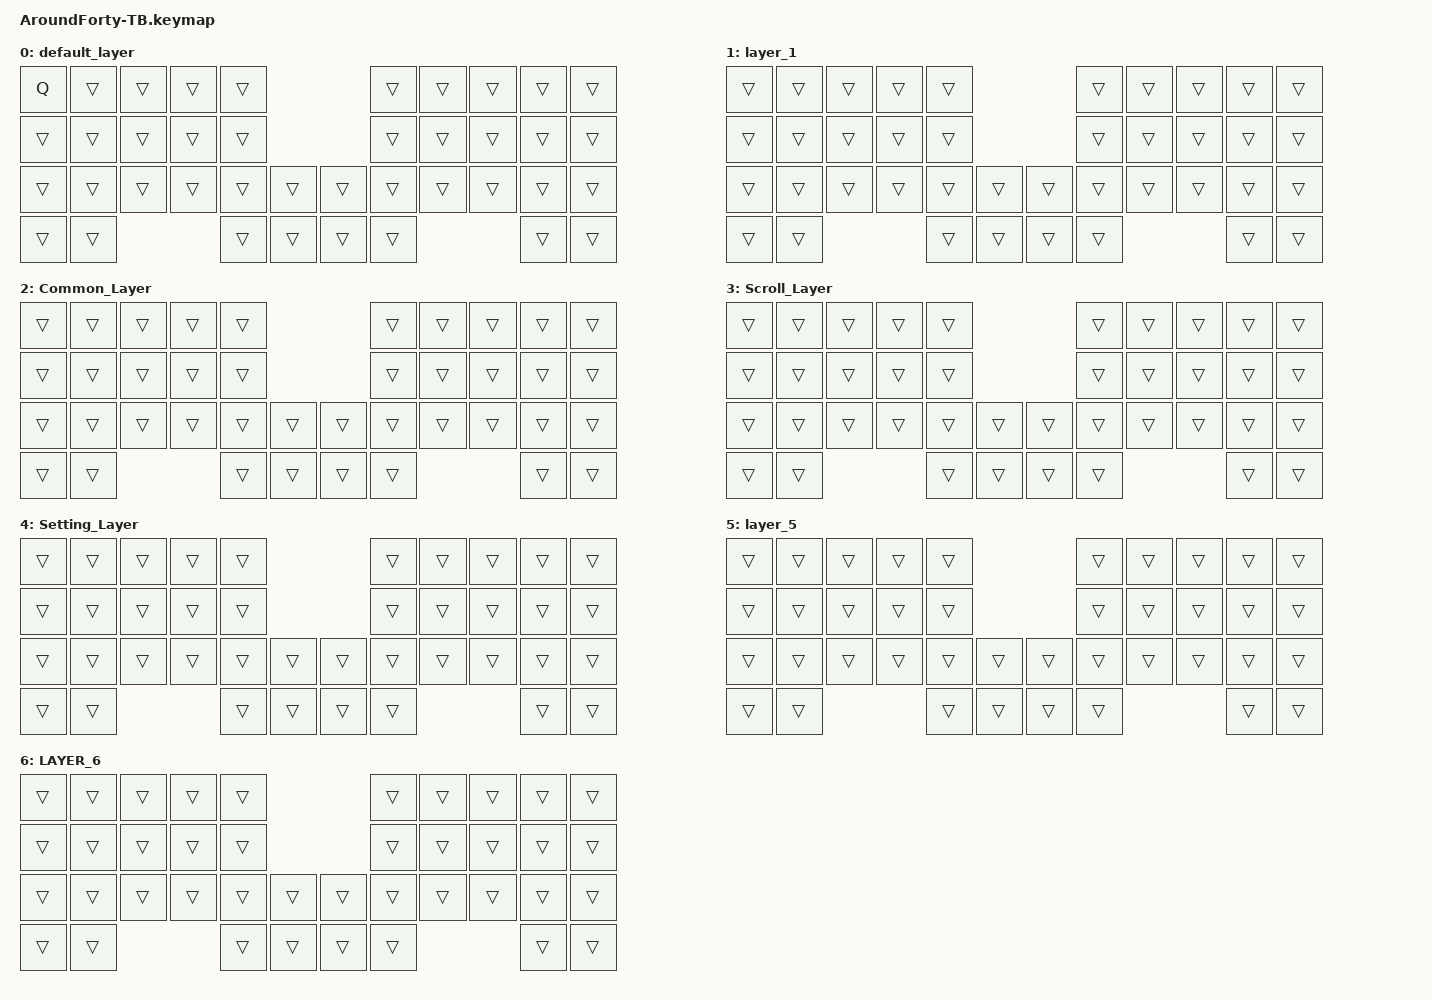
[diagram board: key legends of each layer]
#include <behaviors.dtsi>
#include <dt-bindings/zmk/bt.h>
#include <dt-bindings/zmk/keys.h>
#include <dt-bindings/zmk/pointing.h>


#define MOUSE 6

&mt {
    flavor = "balanced";
    quick-tap-ms = <0>;
};

/ {
    combos { compatible = "zmk,combos"; };

    macros {
        to_layer_0: to_layer_0 {
            compatible = "zmk,behavior-macro-one-param";
            #binding-cells = <1>;
            bindings = <&to 0 &macro_param_1to1 &kp MACRO_PLACEHOLDER>;
            label = "TO_LAYER_0";
        };
    };

    behaviors {
        lt_to_layer_0: lt_to_layer_0 {
            compatible = "zmk,behavior-hold-tap";
            label = "LAYER_TAP_TO_0";
            bindings = <&mo>, <&to_layer_0>;

            #binding-cells = <2>;
            tapping-term-ms = <200>;
        };

        scroll_up_down: behavior_sensor_rotate_mouse_wheel_up_down {
            compatible = "zmk,behavior-sensor-rotate";
            #sensor-binding-cells = <0>;
            bindings = <&msc SCRL_UP>, <&msc SCRL_DOWN>;

            tap-ms = <20>;
        };
    };

    keymap {
        compatible = "zmk,keymap";

        default_layer {
            bindings = <
&kp Q   &trans  &trans  &trans  &trans                  &trans  &trans  &trans  &trans  &trans
&trans  &trans  &trans  &trans  &trans                  &trans  &trans  &trans  &trans  &trans
&trans  &trans  &trans  &trans  &trans  &trans  &trans  &trans  &trans  &trans  &trans  &trans
&trans  &trans                  &trans  &trans  &trans  &trans                  &trans  &trans
            >;
        };

        layer_1 {
            bindings = <
&trans  &trans  &trans  &trans  &trans                  &trans  &trans  &trans  &trans  &trans
&trans  &trans  &trans  &trans  &trans                  &trans  &trans  &trans  &trans  &trans
&trans  &trans  &trans  &trans  &trans  &trans  &trans  &trans  &trans  &trans  &trans  &trans
&trans  &trans                  &trans  &trans  &trans  &trans                  &trans  &trans
            >;
        };

        Common_Layer {
            bindings = <
&trans  &trans  &trans  &trans  &trans                  &trans  &trans  &trans  &trans  &trans
&trans  &trans  &trans  &trans  &trans                  &trans  &trans  &trans  &trans  &trans
&trans  &trans  &trans  &trans  &trans  &trans  &trans  &trans  &trans  &trans  &trans  &trans
&trans  &trans                  &trans  &trans  &trans  &trans                  &trans  &trans
            >;
        };

        Scroll_Layer {
            bindings = <
&trans  &trans  &trans  &trans  &trans                  &trans  &trans  &trans  &trans  &trans
&trans  &trans  &trans  &trans  &trans                  &trans  &trans  &trans  &trans  &trans
&trans  &trans  &trans  &trans  &trans  &trans  &trans  &trans  &trans  &trans  &trans  &trans
&trans  &trans                  &trans  &trans  &trans  &trans                  &trans  &trans
            >;
        };

        Setting_Layer {
            bindings = <
&trans  &trans  &trans  &trans  &trans                  &trans  &trans  &trans  &trans  &trans
&trans  &trans  &trans  &trans  &trans                  &trans  &trans  &trans  &trans  &trans
&trans  &trans  &trans  &trans  &trans  &trans  &trans  &trans  &trans  &trans  &trans  &trans
&trans  &trans                  &trans  &trans  &trans  &trans                  &trans  &trans
            >;
        };

        layer_5 {
            bindings = <
&trans  &trans  &trans  &trans  &trans                  &trans  &trans  &trans  &trans  &trans
&trans  &trans  &trans  &trans  &trans                  &trans  &trans  &trans  &trans  &trans
&trans  &trans  &trans  &trans  &trans  &trans  &trans  &trans  &trans  &trans  &trans  &trans
&trans  &trans                  &trans  &trans  &trans  &trans                  &trans  &trans
            >;
        };

        LAYER_6 {
            bindings = <
&trans  &trans  &trans  &trans  &trans                  &trans  &trans  &trans  &trans  &trans
&trans  &trans  &trans  &trans  &trans                  &trans  &trans  &trans  &trans  &trans
&trans  &trans  &trans  &trans  &trans  &trans  &trans  &trans  &trans  &trans  &trans  &trans
&trans  &trans                  &trans  &trans  &trans  &trans                  &trans  &trans
            >;
        };
    };
};
